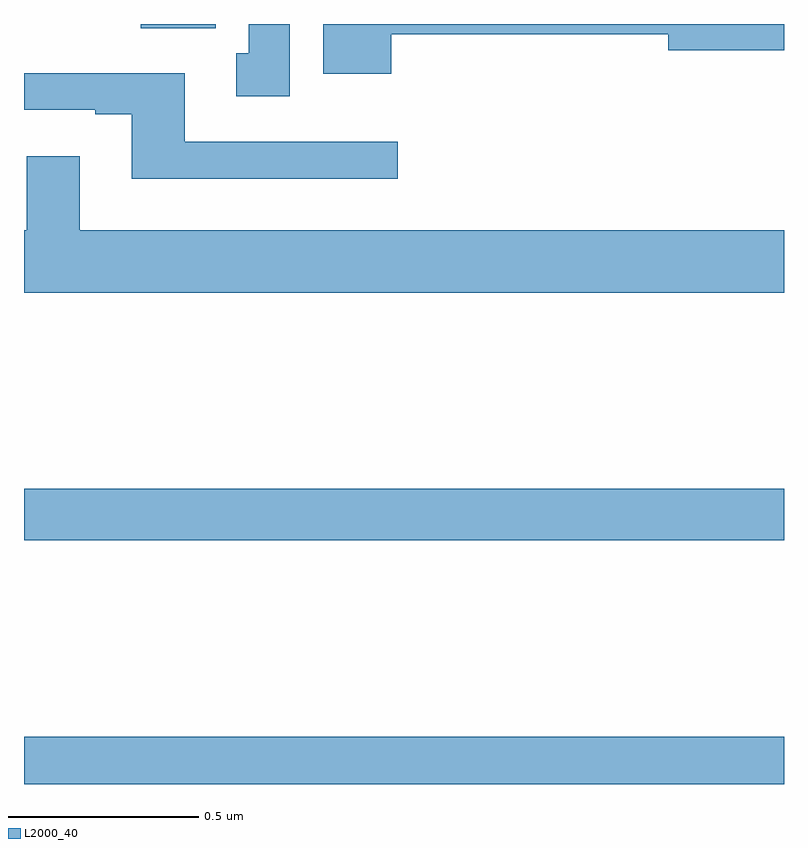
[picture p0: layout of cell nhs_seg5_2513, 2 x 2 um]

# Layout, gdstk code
import gdstk
lib = gdstk.Library(unit=1e-6, precision=1e-09)
def R(c, l, rs):  # rectangles x0, y0, x1, y1
    for r in rs: c.add(gdstk.rectangle(r[:2], r[2:], *l))
def P(c, l, *ps):  # polygons
    for p in ps: c.add(gdstk.Polygon(p, *l))
L2000_40 = (2000, 40)

nhs_seg5_2513 = lib.new_cell('nhs_seg5_2513')
R(nhs_seg5_2513, L2000_40, [(145,856.799,147,856.924), (145,857.44,147,857.576), (145.307,858.788,145.504,858.799)])
P(nhs_seg5_2513, L2000_40, [(145.699,858.799),(145.592,858.799),(145.592,858.722),(145.559,858.722),(145.559,858.609),(145.699,858.609)],
  [(145.966,858.772),(146.696,858.772),(146.696,858.73),(147,858.73),(147,858.799),(145.787,858.799),(145.787,858.668),(145.966,858.668)],
  [(145.984,858.489),(145.423,858.489),(145.423,858.67),(145,858.67),(145,858.573),(145.187,858.573),(145.187,858.561),(145.283,858.561),(145.283,858.392),(145.984,858.392)],
  [(147,858.256),(145.147,858.256),(145.147,858.451),(145.007,858.451),(145.007,858.256),(145,858.256),(145,858.092),(147,858.092)])

lib.write_gds('nhs_seg5_2513.gds')
